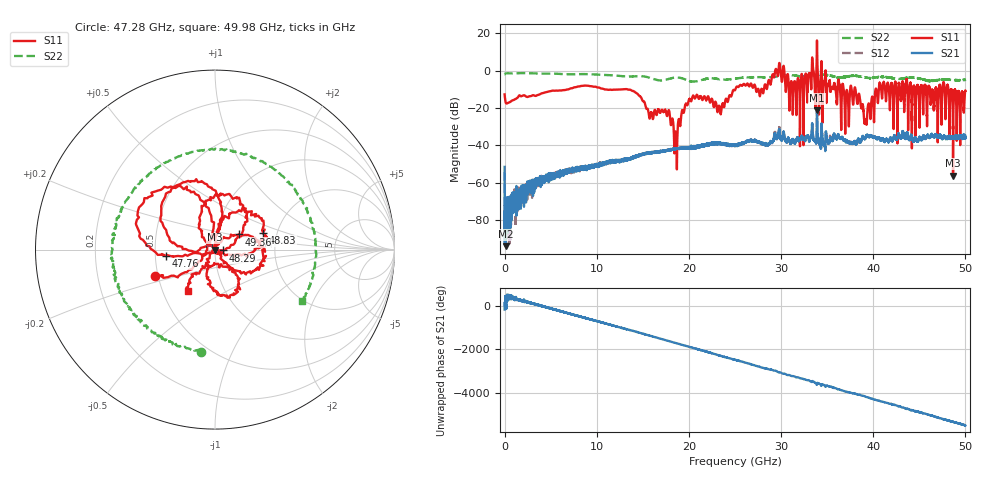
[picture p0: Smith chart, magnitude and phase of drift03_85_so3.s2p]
!Created with skrf (http://scikit-rf.org).
# Hz S RI R 50.0
!freq ReS11 ImS11 ReS21 ImS21 ReS12 ImS12 ReS22 ImS22
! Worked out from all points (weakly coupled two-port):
!   10001 points, 300 kHz to 50 GHz, reference 50 ohm
!   highest |S21| = -21.22 dB at 33.9 GHz (marker M1); lowest = -93.9 dB at 105.3 MHz (marker M2)
!   lowest |S11| = -56.1 dB at 48.66 GHz (marker M3), VSWR 1.00, Z = 49.9 - j0.127 ohm
!   |S11| at or under -10 dB: start of sweep to 6.942 GHz; 13.31 GHz to 25.05 GHz (11.74 GHz wide, 61.2 % of centre); 38.07 GHz to 40.25 GHz (2.18 GHz wide, 5.57 % of centre) (the widest 3 of 53)
!   |S22| runs from -5.9 to -1.3 dB; largest |S21 - S12| = 0.0087
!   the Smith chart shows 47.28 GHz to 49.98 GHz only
!   S11 on the Smith chart (normalised r, x): 47.28 GHz: 0.48, -0.16; 47.76 GHz: 0.57, -0.04; 48.29 GHz: 1.10, -0.01; 48.83 GHz: 1.68, +0.34; 49.36 GHz: 1.28, +0.22; 49.98 GHz: 0.67, -0.34
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300000  -0.2084 -0.1004  -0.00266 -0.000127  -0.00142 0.00134  -0.763 -0.194
1.052994e8  -0.1303 0.0602  -1.49e-05 -1.37e-05  7.59e-05 0.00019  -0.8263 0.1608
1.535291e9  0.2048 0.0437  -8.61e-05 -0.000615  -4.76e-05 -0.000297  0.8488 0.0783
3.160281e9  -0.2185 -0.00886  0.00025 0.000705  -2.62e-05 0.000902  -0.8446 -0.0258
4.665272e9  0.2634 0.0616  -6.84e-05 -0.0016  4.86e-05 -0.00145  0.8189 0.144
6.360262e9  -0.3003 -5.02e-05  0.000695 0.00159  0.000649 0.00202  -0.8043 -0.0459
8.33525e9  0.2843 -0.267  -0.00221 -0.000884  -0.0022 -0.000852  0.6042 -0.5342
9.590242e9  -0.3718 -0.0377  0.00143 0.00236  0.00149 0.00236  -0.788 -0.0762
1.123523e10  0.3057 0.0308  -0.00228 -0.00289  -0.00212 -0.00253  0.7573 0.0381
1.66702e10  0.0536 0.0752  0.00451 -0.00475  0.00478 -0.00487  -0.3654 0.4152
2.500015e10  -0.2963 -0.0497  0.00772 0.00648  0.00816 0.0065  -0.1779 -0.5861
3.33351e10  0.4709 -1.003  -0.00546 0.0245  -0.00576 0.0239  0.6103 0.3744
3.38951e10  -0.4043 -6.387  0.0858 0.0137  0.0822 0.013  0.6856 -0.311
4.167005e10  -0.2271 0.2812  -0.0115 -0.00476  -0.0117 -0.00479  -0.6582 -0.066
4.728002e10  -0.3317 -0.1468  -0.00862 -0.0173  -0.00831 -0.0161  -0.0775 -0.5685
4.775501e10  -0.2712 -0.0364  -0.0168 -0.00143  -0.0168 -0.00206  -0.4827 -0.3109
4.828501e10  0.0473 -0.00457  -0.00795 0.0139  -0.00933 0.0137  -0.5252 0.2101
4.866001e10  -0.000918 -0.00127  0.00368 0.0168  0.00383 0.0168  -0.2651 0.4887
4.883001e10  0.2671 0.0938  0.00919 0.0138  0.0086 0.0131  -0.0985 0.5507
4.936e10  0.1314 0.0845  0.0161 -0.00176  0.0175 -0.00305  0.4296 0.3608
4.998e10  -0.1482 -0.2327  0.00214 -0.015  0.00315 -0.0165  0.482 -0.287
5e10  -0.1451 -0.2502  0.00134 -0.0159  0.00213 -0.0164  0.475 -0.3086
